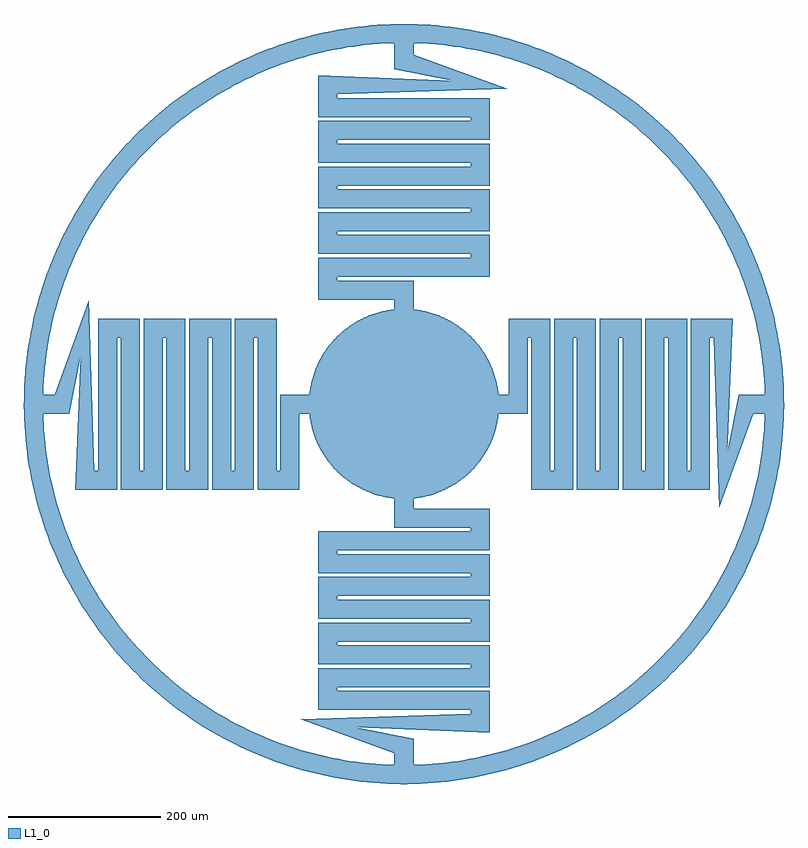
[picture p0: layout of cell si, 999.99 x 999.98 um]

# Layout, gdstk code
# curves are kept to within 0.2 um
import gdstk
lib = gdstk.Library(unit=1e-6, precision=1e-09)
def P(c, l, *ps):  # polygons
    for p in ps: c.add(gdstk.Polygon(p, *l))
L1_0 = (1, 0)

c_si = lib.new_cell('si')
P(c_si, L1_0, [(-1.094,-124.995),(-14.19,-124.192),(-24.989,-122.477),(-37.69,-119.183),(-47.962,-115.433),(-57.867,-110.799),(-69.162,-104.123),(-79.695,-96.3),(-89.35,-87.416),(-98.021,-77.569),(-104.425,-68.706),(-111.051,-57.381),(-116.454,-45.425),(-119.979,-35.073),(-122.994,-22.304),(-124.473,-11.469),(-124.989,1.641),(-124.368,12.558),(-122.366,25.525),(-119.017,38.211),(-115.222,48.466),(-109.507,60.277),(-103.82,69.617),(-95.951,80.115),(-87.024,89.732),(-77.14,98.359),(-68.248,104.724),(-56.895,111.301),(-46.95,115.848),(-36.645,119.508),(-23.917,122.691),(-10.925,124.522),(2.188,124.981),(15.276,124.063),(26.06,122.253),(36.645,119.508),(48.97,115.008),(60.755,109.242),(70.07,103.514),(80.535,95.599),(88.582,88.195),(97.338,78.424),(103.82,69.617),(109.507,60.277),(115.222,48.466),(119.667,36.122),(122.794,23.38),(124.368,12.558),(124.999,-0.547),(124.473,-11.469),(122.585,-24.453),(119.346,-37.168),(114.793,-49.473),(108.975,-61.233),(103.206,-70.523),(96.648,-79.273),(87.806,-88.967),(79.695,-96.3),(69.162,-104.123),(57.867,-110.799),(47.962,-115.433),(37.69,-119.183),(24.989,-122.477),(12.014,-124.421)],
  [(-4.375,-499.981),(-30.609,-499.062),(-56.759,-496.768),(-82.752,-493.105),(-99.958,-489.907),(-125.531,-483.985),(-150.759,-476.73),(-175.57,-468.161),(-199.898,-458.302),(-215.815,-451.025),(-239.188,-439.078),(-261.902,-425.92),(-283.894,-411.588),(-305.103,-396.121),(-325.472,-379.563),(-344.944,-361.959),(-357.4,-349.665),(-375.258,-330.426),(-392.082,-310.277),(-407.826,-289.272),(-417.699,-274.822),(-431.547,-252.522),(-440.12,-237.265),(-451.965,-213.839),(-462.565,-189.825),(-471.89,-165.287),(-479.914,-140.294),(-486.616,-114.914),(-491.976,-89.217),(-494.797,-71.945),(-497.891,-45.878),(-499.612,-19.685),(-499.957,6.563),(-498.923,32.793),(-496.515,58.932),(-492.738,84.908),(-487.603,110.651),(-481.124,136.089),(-476.066,152.843),(-467.389,177.617),(-457.423,201.902),(-446.196,225.63),(-433.74,248.736),(-420.088,271.156),(-405.279,292.83),(-389.352,313.696),(-378.135,327.13),(-360.446,346.524),(-341.763,364.963),(-322.138,382.396),(-301.625,398.776),(-280.281,414.056),(-258.165,428.195),(-235.337,441.154),(-211.86,452.897),(-187.799,463.391),(-171.467,469.68),(-156.096,475),(0,475),(-24.929,474.345),(-41.514,473.182),(-58.048,471.44),(-82.71,467.744),(-99.029,464.562),(-115.227,460.812),(-139.252,454.13),(-155.06,448.978),(-170.677,443.277),(-186.086,437.032),(-201.267,430.252),(-223.57,419.096),(-238.1,411.015),(-252.338,402.431),(-273.11,388.633),(-286.544,378.837),(-299.627,368.577),(-318.557,352.344),(-336.61,335.14),(-348.132,323.155),(-359.228,310.773),(-369.884,298.011),(-380.087,284.884),(-394.515,264.544),(-407.855,243.474),(-416.125,229.052),(-423.887,214.348),(-434.552,191.807),(-440.998,176.481),(-446.904,160.94),(-454.735,137.264),(-459.26,121.265),(-463.223,105.118),(-468.101,80.663),(-470.637,64.232),(-472.597,47.721),(-474.45,22.853),(-474.959,6.235),(-474.886,-10.391),(-473.687,-35.299),(-472.161,-51.855),(-470.057,-68.348),(-467.377,-84.756),(-464.125,-101.061),(-458.181,-125.28),(-453.516,-141.238),(-448.296,-157.023),(-439.437,-180.334),(-432.857,-195.602),(-425.746,-210.631),(-414.105,-232.684),(-401.323,-254.096),(-392.184,-267.986),(-382.566,-281.547),(-372.478,-294.763),(-361.934,-307.618),(-345.291,-326.189),(-327.696,-343.861),(-315.462,-355.118),(-302.84,-365.941),(-283.218,-381.33),(-269.699,-391.008),(-255.85,-400.207),(-241.687,-408.916),(-227.229,-417.124),(-205.024,-428.474),(-182.255,-438.644),(-166.792,-444.753),(-151.125,-450.318),(-127.283,-457.629),(-111.19,-461.803),(-94.96,-465.411),(-78.614,-468.449),(-62.172,-470.914),(-37.372,-473.528),(-20.777,-474.545),(-4.157,-474.982),(20.777,-474.545),(37.372,-473.528),(53.921,-471.93),(78.614,-468.449),(94.96,-465.411),(111.19,-461.803),(135.273,-455.331),(158.983,-447.604),(174.55,-441.766),(189.903,-435.387),(205.024,-428.474),(219.894,-421.037),(241.687,-408.916),(262.815,-395.668),(276.501,-386.228),(289.848,-376.315),(302.84,-365.941),(315.462,-355.118),(333.664,-338.073),(345.291,-326.189),(356.495,-313.905),(372.478,-294.763),(382.566,-281.547),(392.184,-267.986),(401.323,-254.096),(409.97,-239.896),(418.114,-225.401),(425.746,-210.631),(432.857,-195.602),(439.437,-180.334),(445.479,-164.844),(450.975,-149.153),(455.919,-133.279),(460.304,-117.242),(464.125,-101.061),(467.377,-84.756),(470.057,-68.348),(472.161,-51.855),(473.687,-35.299),(474.632,-18.7),(474.959,6.235),(474.45,22.853),(473.36,39.443),(471.689,55.985),(469.441,72.458),(466.618,88.843),(463.223,105.118),(459.26,121.265),(454.735,137.264),(446.904,160.94),(440.998,176.481),(434.552,191.807),(423.887,214.348),(412.053,236.299),(399.084,257.599),(385.015,278.188),(375.043,291.492),(364.612,304.439),(348.132,323.155),(330.693,340.98),(312.342,357.865),(299.627,368.577),(279.87,383.794),(259.342,397.953),(245.256,406.785),(223.57,419.096),(208.766,426.664),(193.706,433.708),(178.409,440.222),(162.893,446.196),(139.252,454.13),(123.274,458.725),(107.144,462.758),(82.71,467.744),(66.29,470.352),(41.514,473.182),(24.929,474.345),(8.313,474.927),(-156.096,475),(-138.193,480.523),(-121.291,485.065),(-95.667,490.763),(-78.433,493.81),(-61.104,496.252),(-43.699,498.087),(-17.498,499.694),(0,500),(17.498,499.694),(43.699,498.087),(69.779,495.107),(95.667,490.763),(121.291,485.065),(146.581,478.031),(171.467,469.68),(195.88,460.034),(211.86,452.897),(235.337,441.154),(258.165,428.195),(280.281,414.056),(294.6,403.994),(315.396,387.976),(335.323,370.888),(354.326,352.779),(372.352,333.697),(389.352,313.696),(405.279,292.83),(415.278,278.467),(429.321,256.289),(442.179,233.404),(453.819,209.876),(464.209,185.77),(473.318,161.151),(481.124,136.089),(487.603,110.651),(491.176,93.519),(495.408,67.612),(498.273,41.519),(499.421,24.056),(499.995,-2.188),(499.191,-28.425),(497.012,-54.584),(494.797,-71.945),(490.339,-97.813),(486.616,-114.914),(479.914,-140.294),(471.89,-165.287),(462.565,-189.825),(451.965,-213.839),(440.12,-237.265),(427.061,-260.036),(412.826,-282.09),(402.701,-296.365),(386.592,-317.091),(369.418,-336.943),(351.225,-355.866),(332.065,-373.809),(311.989,-390.721),(291.054,-406.556),(269.316,-421.271),(254.408,-430.438),(231.467,-443.196),(207.888,-454.733),(183.737,-465.017),(159.079,-474.019),(142.392,-479.296),(117.042,-486.108),(91.369,-491.581),(65.444,-495.699),(39.339,-498.45),(13.125,-499.828)])
c_si.add(gdstk.FlexPath([(0,0),(0,150),(-100,150),(-100,180),(100,180),(100,210),(-100,210),(-100,240),(100,240),(100,270),(-100,270),(-100,300),(100,300),(100,330),(-100,330),(-100,360),(100,360),(100,390),(-100,390),(-100,420),(100,420),(100,420),(0,450),(0,475)], 25, ends="flush", simple_path=True, layer=1, datatype=0))  # L1_0
c_si.add(gdstk.FlexPath([(0,0),(-150,0),(-150,-100),(-180,-100),(-180,100),(-210,100),(-210,-100),(-240,-100),(-240,100),(-270,100),(-270,-100),(-300,-100),(-300,100),(-330,100),(-330,-100),(-360,-100),(-360,100),(-390,100),(-390,-100),(-420,-100),(-420,100),(-420,100),(-450,0),(-475,0)], 25, ends="flush", simple_path=True, layer=1, datatype=0))  # L1_0
c_si.add(gdstk.FlexPath([(0,0),(0,-150),(100,-150),(100,-180),(-100,-180),(-100,-210),(100,-210),(100,-240),(-100,-240),(-100,-270),(100,-270),(100,-300),(-100,-300),(-100,-330),(100,-330),(100,-360),(-100,-360),(-100,-390),(100,-390),(100,-420),(-100,-420),(-100,-420),(0,-450),(0,-475)], 25, ends="flush", simple_path=True, layer=1, datatype=0))  # L1_0
c_si.add(gdstk.FlexPath([(0,0),(150,0),(150,100),(180,100),(180,-100),(210,-100),(210,100),(240,100),(240,-100),(270,-100),(270,100),(300,100),(300,-100),(330,-100),(330,100),(360,100),(360,-100),(390,-100),(390,100),(420,100),(420,-100),(420,-100),(450,0),(475,0)], 25, ends="flush", simple_path=True, layer=1, datatype=0))  # L1_0

lib.write_gds('si.gds')
